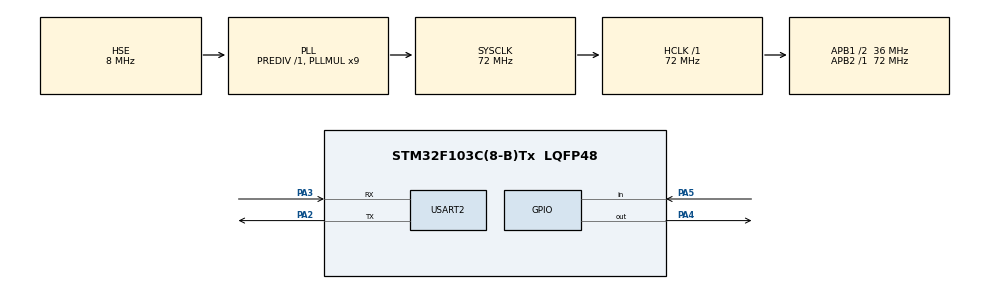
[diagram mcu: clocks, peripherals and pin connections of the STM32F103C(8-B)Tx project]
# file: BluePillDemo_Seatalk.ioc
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Mcu.Family=STM32F1
Mcu.Name=STM32F103C(8-B)Tx
Mcu.Package=LQFP48
NVIC.PriorityGroup=NVIC_PRIORITYGROUP_4
NVIC.TIM2_IRQn=true\:0\:0\:false\:false\:true\:true\:true
PA13.Mode=Serial_Wire
PA13.Signal=SYS_JTMS-SWDIO
PA14.Mode=Serial_Wire
PA14.Signal=SYS_JTCK-SWCLK
PA2.Mode=Asynchronous
PA2.Signal=USART2_TX
PA3.Mode=Asynchronous
PA3.Signal=USART2_RX
PA4.Signal=GPIO_Output
PA5.Signal=GPIO_Input
PC14-OSC32_IN.Mode=LSE-External-Oscillator
PC14-OSC32_IN.Signal=RCC_OSC32_IN
PC15-OSC32_OUT.Mode=LSE-External-Oscillator
PC15-OSC32_OUT.Signal=RCC_OSC32_OUT
PD0-OSC_IN.Mode=HSE-External-Oscillator
PD0-OSC_IN.Signal=RCC_OSC_IN
PD1-OSC_OUT.Mode=HSE-External-Oscillator
PD1-OSC_OUT.Signal=RCC_OSC_OUT
ProjectManager.HeapSize=0x200
ProjectManager.StackSize=0x400
ProjectManager.TargetToolchain=STM32CubeIDE
RCC.AHBFreq_Value=72000000
RCC.APB1CLKDivider=RCC_HCLK_DIV2
RCC.APB1Freq_Value=36000000
RCC.APB1TimFreq_Value=72000000
RCC.APB2Freq_Value=72000000
RCC.APB2TimFreq_Value=72000000
RCC.HCLKFreq_Value=72000000
RCC.PLLMUL=RCC_PLL_MUL9
RCC.PLLSourceVirtual=RCC_PLLSOURCE_HSE
RCC.SYSCLKFreq_VALUE=72000000
RCC.SYSCLKSource=RCC_SYSCLKSOURCE_PLLCLK
RCC.USBFreq_Value=72000000
TIM2.Period=936
TIM2.Prescaler=1
USART2.VirtualMode=VM_ASYNC
VP_TIM2_VS_ClockSourceINT.Mode=Internal
board=custom

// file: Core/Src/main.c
/* USER CODE BEGIN Header */
/**
  ******************************************************************************
  * @file           : main.c
  * @brief          : Main program body
  ******************************************************************************
  * @attention
  *
  * <h2><center>&copy; Copyright (c) 2020 STMicroelectronics.
  * All rights reserved.</center></h2>
  *
  * This software component is licensed by ST under BSD 3-Clause license,
  * the "License"; You may not use this file except in compliance with the
  * License. You may obtain a copy of the License at:
  *                        opensource.org/licenses/BSD-3-Clause
  *
  ******************************************************************************
  */
/* USER CODE END Header */

#include "main.h"

/* USER CODE BEGIN Includes */
#include <stdio.h>
#include <string.h>
#include "seatalk.h"

/* USER CODE END Includes */

TIM_HandleTypeDef htim2;

UART_HandleTypeDef huart2;

void SystemClock_Config(void);
static void MX_GPIO_Init(void);
static void MX_TIM2_Init(void);
static void MX_USART2_UART_Init(void);
/* USER CODE BEGIN PFP */
void SeatalkMessageHandler(uint8_t messageType);

/* USER CODE END PFP */

/* USER CODE BEGIN 0 */
void SeatalkMessageHandler(uint8_t messageType)
{
	char messageBuf[50];
	float sog;

	switch(messageType)
	{
	case SEATALK_DEPTH:
		break;

	case SEATALK_BOATSPEED:
		break;

	case SEATALK_APPARENT_WIND_ANGLE:
		break;

	case SEATALK_APPARENT_WIND_SPEED:
		break;

	case SEATALK_GPS_INFO:
		break;

	case SEATALK_HDOP:
		break;

	case SEATALK_NUMBER_OF_SATS:
		break;

	case SEATALK_SIGNAL_QUALITY:
		break;

	case SEATALK_SOG:
		sog = seatalk_speed_over_ground_data_retrieve();
		sprintf(messageBuf, "SOG: %02.1f\r\n", sog);
		HAL_UART_Transmit(&huart2, (uint8_t *)messageBuf, strlen(messageBuf), 100U);
		break;

	case SEATALK_COG:
		break;

	case SEATALK_HEADING_MAGNETIC_1:
		break;

	case SEATALK_HEADING_MAGNETIC_2:
		break;

	case SEATALK_TRIPLOG:
		break;

	case SEATALK_TRUE_WIND_ANGLE_SPEED:
		break;

	case SEATALK_LATITUDE:
		break;

	case SEATALK_LONGITUDE:
		break;

	case SEATALK_GMT:
		break;

	case SEATALK_DATE:
		break;

	case SEATALK_TEMPERATURE:
		break;

	case SEATALK_MAGNETIC_WIND_DIRECTION:
		break;

	default:
		break;
	}
}

/* USER CODE END 0 */

int main(void)
{
  /* USER CODE BEGIN 1 */
  uint8_t loopCounter = 0U;
  /* USER CODE END 1 */

  /* MCU Configuration--------------------------------------------------------*/

  /* Reset of all peripherals, Initializes the Flash interface and the Systick. */
  HAL_Init();

  /* Configure the system clock */
  SystemClock_Config();

  /* Initialize all configured peripherals */
  MX_GPIO_Init();
  MX_TIM2_Init();
  MX_USART2_UART_Init();
  /* USER CODE BEGIN 2 */
  seatalk_init(SeatalkMessageHandler);

  /* USER CODE END 2 */

  /* Infinite loop */
  while (1)
  {

    /* USER CODE BEGIN 3 */
  	seatalk_parse_next_message();
  	seatalk_send_next_message();
	HAL_Delay(10UL);

	loopCounter++;
	if (loopCounter == 100U)
	{
		loopCounter = 0U;
		seatalk_speed_over_ground_send(5.5f);
	}
  }
  /* USER CODE END 3 */
}

void SystemClock_Config(void)
{
  RCC_OscInitTypeDef RCC_OscInitStruct = {0};
  RCC_ClkInitTypeDef RCC_ClkInitStruct = {0};

  /** Initializes the CPU, AHB and APB busses clocks
  */
  RCC_OscInitStruct.OscillatorType = RCC_OSCILLATORTYPE_HSE;
  RCC_OscInitStruct.HSEState = RCC_HSE_ON;
  RCC_OscInitStruct.HSEPredivValue = RCC_HSE_PREDIV_DIV1;
  RCC_OscInitStruct.HSIState = RCC_HSI_ON;
  RCC_OscInitStruct.PLL.PLLState = RCC_PLL_ON;
  RCC_OscInitStruct.PLL.PLLSource = RCC_PLLSOURCE_HSE;
  RCC_OscInitStruct.PLL.PLLMUL = RCC_PLL_MUL9;
  if (HAL_RCC_OscConfig(&RCC_OscInitStruct) != HAL_OK)
  {
    Error_Handler();
  }
  /** Initializes the CPU, AHB and APB busses clocks
  */
  RCC_ClkInitStruct.ClockType = RCC_CLOCKTYPE_HCLK|RCC_CLOCKTYPE_SYSCLK
                              |RCC_CLOCKTYPE_PCLK1|RCC_CLOCKTYPE_PCLK2;
  RCC_ClkInitStruct.SYSCLKSource = RCC_SYSCLKSOURCE_PLLCLK;
  RCC_ClkInitStruct.AHBCLKDivider = RCC_SYSCLK_DIV1;
  RCC_ClkInitStruct.APB1CLKDivider = RCC_HCLK_DIV2;
  RCC_ClkInitStruct.APB2CLKDivider = RCC_HCLK_DIV1;

  if (HAL_RCC_ClockConfig(&RCC_ClkInitStruct, FLASH_LATENCY_2) != HAL_OK)
  {
    Error_Handler();
  }
}

static void MX_TIM2_Init(void)
{

  TIM_ClockConfigTypeDef sClockSourceConfig = {0};
  TIM_MasterConfigTypeDef sMasterConfig = {0};

  htim2.Instance = TIM2;
  htim2.Init.Prescaler = 1;
  htim2.Init.CounterMode = TIM_COUNTERMODE_UP;
  htim2.Init.Period = 936;
  htim2.Init.ClockDivision = TIM_CLOCKDIVISION_DIV1;
  htim2.Init.AutoReloadPreload = TIM_AUTORELOAD_PRELOAD_DISABLE;
  if (HAL_TIM_Base_Init(&htim2) != HAL_OK)
  {
    Error_Handler();
  }
  sClockSourceConfig.ClockSource = TIM_CLOCKSOURCE_INTERNAL;
  if (HAL_TIM_ConfigClockSource(&htim2, &sClockSourceConfig) != HAL_OK)
  {
    Error_Handler();
  }
  sMasterConfig.MasterOutputTrigger = TIM_TRGO_RESET;
  sMasterConfig.MasterSlaveMode = TIM_MASTERSLAVEMODE_DISABLE;
  if (HAL_TIMEx_MasterConfigSynchronization(&htim2, &sMasterConfig) != HAL_OK)
  {
    Error_Handler();
  }

}

static void MX_USART2_UART_Init(void)
{

  huart2.Instance = USART2;
  huart2.Init.BaudRate = 115200;
  huart2.Init.WordLength = UART_WORDLENGTH_8B;
  huart2.Init.StopBits = UART_STOPBITS_1;
  huart2.Init.Parity = UART_PARITY_NONE;
  huart2.Init.Mode = UART_MODE_TX_RX;
  huart2.Init.HwFlowCtl = UART_HWCONTROL_NONE;
  huart2.Init.OverSampling = UART_OVERSAMPLING_16;
  if (HAL_UART_Init(&huart2) != HAL_OK)
  {
    Error_Handler();
  }

}

static void MX_GPIO_Init(void)
{
  GPIO_InitTypeDef GPIO_InitStruct = {0};

  /* GPIO Ports Clock Enable */
  __HAL_RCC_GPIOC_CLK_ENABLE();
  __HAL_RCC_GPIOD_CLK_ENABLE();
  __HAL_RCC_GPIOA_CLK_ENABLE();

  /*Configure GPIO pin Output Level */
  HAL_GPIO_WritePin(GPIOA, GPIO_PIN_4, GPIO_PIN_RESET);

  /*Configure GPIO pin : PA4 */
  GPIO_InitStruct.Pin = GPIO_PIN_4;
  GPIO_InitStruct.Mode = GPIO_MODE_OUTPUT_PP;
  GPIO_InitStruct.Pull = GPIO_NOPULL;
  GPIO_InitStruct.Speed = GPIO_SPEED_FREQ_LOW;
  HAL_GPIO_Init(GPIOA, &GPIO_InitStruct);

  /*Configure GPIO pin : PA5 */
  GPIO_InitStruct.Pin = GPIO_PIN_5;
  GPIO_InitStruct.Mode = GPIO_MODE_INPUT;
  GPIO_InitStruct.Pull = GPIO_NOPULL;
  HAL_GPIO_Init(GPIOA, &GPIO_InitStruct);

}

void Error_Handler(void)
{
}

/************************ (C) COPYRIGHT STMicroelectronics *****END OF FILE****/
